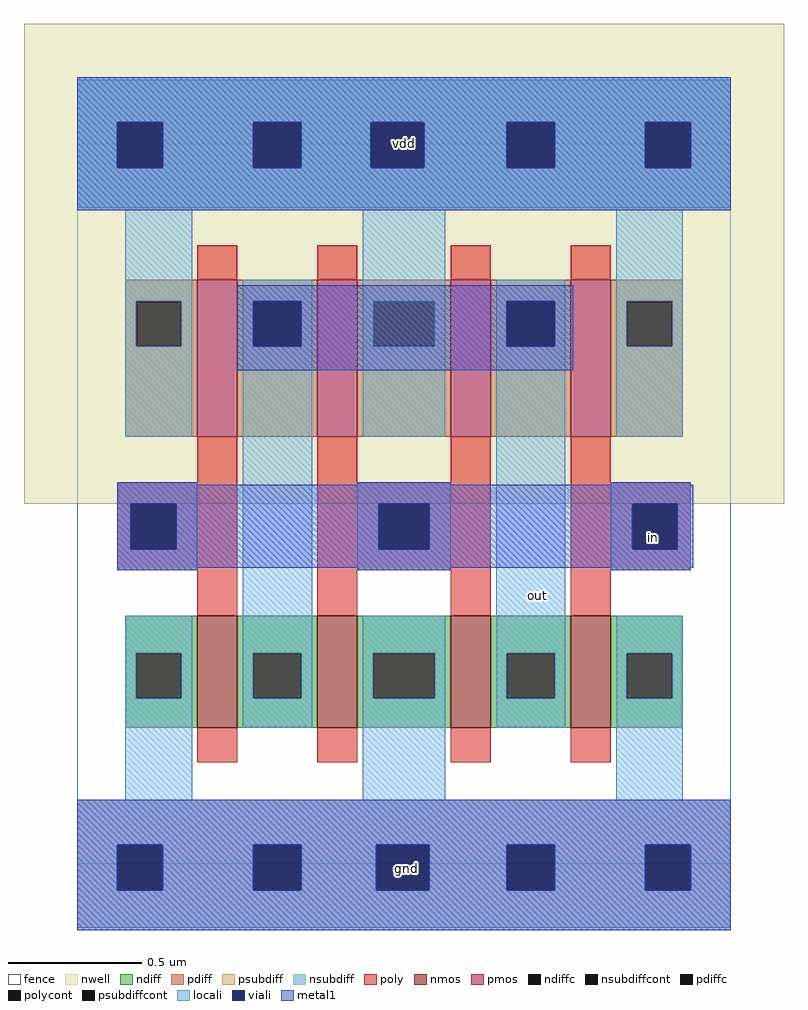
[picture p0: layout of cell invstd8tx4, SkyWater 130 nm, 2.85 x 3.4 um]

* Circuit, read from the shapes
.subckt invstd8tx4 vdd gnd in out
XM1 out in gnd gnd sky130_fd_pr__nfet_01v8 w=0.42 l=0.15 m=4
XM2 out in vdd vdd sky130_fd_pr__pfet_01v8 w=0.59 l=0.15 m=4
.ends

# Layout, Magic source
magic
tech sky130A
<< fence >>
rect 0 0 245 270
<< nwell >>
rect -20 135 265 315
<< nmos >>
rect 45 51 60 93
rect 90 51 105 93
rect 140 51 155 93
rect 185 51 200 93
<< pmos >>
rect 45 160 60 219
rect 90 160 105 219
rect 140 160 155 219
rect 185 160 200 219
<< ndiff >>
rect 18 79 45 93
rect 18 62 22 79
rect 39 62 45 79
rect 18 51 45 62
rect 60 79 90 93
rect 60 62 66 79
rect 84 62 90 79
rect 60 51 90 62
rect 105 79 140 93
rect 105 62 111 79
rect 134 62 140 79
rect 105 51 140 62
rect 155 79 185 93
rect 155 62 161 79
rect 179 62 185 79
rect 155 51 185 62
rect 200 79 227 93
rect 200 62 206 79
rect 223 62 227 79
rect 200 51 227 62
<< pdiff >>
rect 18 211 45 219
rect 18 194 22 211
rect 39 194 45 211
rect 18 160 45 194
rect 60 211 90 219
rect 60 194 66 211
rect 84 194 90 211
rect 60 160 90 194
rect 105 211 140 219
rect 105 194 111 211
rect 134 194 140 211
rect 105 160 140 194
rect 155 211 185 219
rect 155 194 161 211
rect 179 194 185 211
rect 155 160 185 194
rect 200 211 227 219
rect 200 194 206 211
rect 223 194 227 211
rect 200 160 227 194
<< ndiffc >>
rect 22 62 39 79
rect 66 62 84 79
rect 111 62 134 79
rect 161 62 179 79
rect 206 62 223 79
<< pdiffc >>
rect 22 194 39 211
rect 66 194 84 211
rect 111 194 134 211
rect 161 194 179 211
rect 206 194 223 211
<< psubdiff >>
rect 0 7 245 24
rect 0 -10 15 7
rect 32 -10 66 7
rect 84 -10 112 7
rect 132 -10 161 7
rect 179 -10 213 7
rect 230 -10 245 7
rect 0 -24 245 -10
<< nsubdiff >>
rect 0 278 245 294
rect 0 261 15 278
rect 32 261 66 278
rect 84 261 110 278
rect 130 261 161 278
rect 179 261 213 278
rect 230 261 245 278
rect 0 246 245 261
<< psubdiffcont >>
rect 15 -10 32 7
rect 66 -10 84 7
rect 112 -10 132 7
rect 161 -10 179 7
rect 213 -10 230 7
<< nsubdiffcont >>
rect 15 261 32 278
rect 66 261 84 278
rect 110 261 130 278
rect 161 261 179 278
rect 213 261 230 278
<< poly >>
rect 45 219 60 232
rect 90 219 105 232
rect 140 219 155 232
rect 185 219 200 232
rect 45 143 60 160
rect 15 135 60 143
rect 15 118 20 135
rect 37 118 60 135
rect 15 110 60 118
rect 45 93 60 110
rect 90 143 105 160
rect 140 143 155 160
rect 90 135 155 143
rect 90 118 113 135
rect 132 118 155 135
rect 90 110 155 118
rect 90 93 105 110
rect 140 93 155 110
rect 185 143 200 160
rect 185 135 230 143
rect 185 118 208 135
rect 225 118 230 135
rect 185 110 230 118
rect 185 93 200 110
rect 45 38 60 51
rect 90 38 105 51
rect 140 38 155 51
rect 185 38 200 51
<< polycont >>
rect 20 118 37 135
rect 113 118 132 135
rect 208 118 225 135
<< locali >>
rect 0 278 245 295
rect 0 261 15 278
rect 32 261 66 278
rect 84 261 110 278
rect 130 261 161 278
rect 179 261 213 278
rect 230 261 245 278
rect 0 245 245 261
rect 18 211 43 245
rect 18 194 22 211
rect 39 194 43 211
rect 18 160 43 194
rect 62 211 88 219
rect 62 194 66 211
rect 84 194 88 211
rect 15 135 45 143
rect 15 118 20 135
rect 37 118 45 135
rect 15 110 45 118
rect 18 79 43 93
rect 18 62 22 79
rect 39 62 43 79
rect 18 24 43 62
rect 62 79 88 194
rect 107 211 138 245
rect 107 194 111 211
rect 134 194 138 211
rect 107 160 138 194
rect 157 211 183 219
rect 157 194 161 211
rect 179 194 183 211
rect 105 135 140 143
rect 105 118 113 135
rect 132 118 140 135
rect 105 110 140 118
rect 62 62 66 79
rect 84 62 88 79
rect 62 51 88 62
rect 107 79 138 93
rect 107 62 111 79
rect 134 62 138 79
rect 107 24 138 62
rect 157 79 183 194
rect 202 211 227 245
rect 202 194 206 211
rect 223 194 227 211
rect 202 160 227 194
rect 200 135 230 143
rect 200 118 208 135
rect 225 118 230 135
rect 200 110 230 118
rect 157 62 161 79
rect 179 62 183 79
rect 157 51 183 62
rect 202 79 227 93
rect 202 62 206 79
rect 223 62 227 79
rect 202 24 227 62
rect 0 7 245 24
rect 0 -10 15 7
rect 32 -10 66 7
rect 84 -10 112 7
rect 132 -10 161 7
rect 179 -10 213 7
rect 230 -10 245 7
rect 0 -25 245 -10
<< viali >>
rect 15 261 32 278
rect 66 261 84 278
rect 110 261 130 278
rect 161 261 179 278
rect 213 261 230 278
rect 66 194 84 211
rect 20 118 37 135
rect 161 194 179 211
rect 113 118 132 135
rect 208 118 225 135
rect 15 -10 32 7
rect 66 -10 84 7
rect 112 -10 132 7
rect 161 -10 179 7
rect 213 -10 230 7
<< metal1 >>
rect 0 278 245 295
rect 0 261 15 278
rect 32 261 66 278
rect 84 261 110 278
rect 130 261 161 278
rect 179 261 213 278
rect 230 261 245 278
rect 0 245 245 261
rect 60 211 186 217
rect 60 194 66 211
rect 84 194 161 211
rect 179 194 186 211
rect 60 185 186 194
rect 15 142 45 143
rect 105 142 140 143
rect 200 142 230 143
rect 15 135 231 142
rect 15 118 20 135
rect 37 118 113 135
rect 132 118 208 135
rect 225 118 231 135
rect 15 111 231 118
rect 15 110 45 111
rect 105 110 140 111
rect 200 110 230 111
rect 0 7 245 24
rect 0 -10 15 7
rect 32 -10 66 7
rect 84 -10 112 7
rect 132 -10 161 7
rect 179 -10 213 7
rect 230 -10 245 7
rect 0 -25 245 -10
<< labels >>
rlabel nwell 10 256 235 284 1 vdd
port 1 n
rlabel metal1 11 -16 236 12 1 gnd
port 2 n
rlabel metal1 204 112 228 133 1 in
port 3 n
rlabel locali 163 97 182 104 1 out
port 4 n
<< end >>
